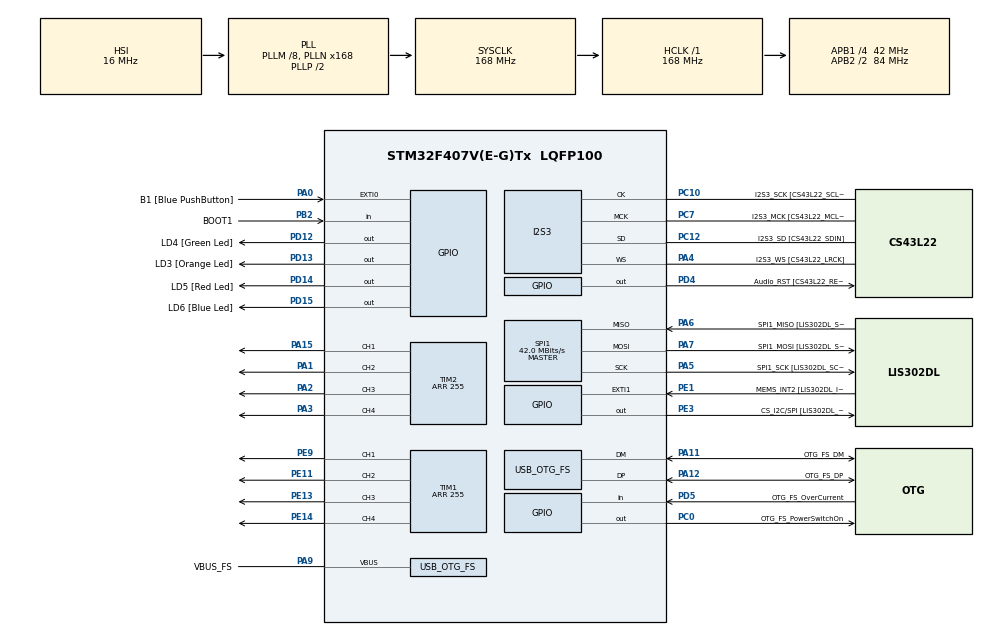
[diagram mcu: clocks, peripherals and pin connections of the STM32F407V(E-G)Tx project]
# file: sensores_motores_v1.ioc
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I2S3.AudioFreq-Half_Duplex_Master=I2S_AUDIOFREQ_96K
I2S3.ErrorAudioFreq=-2.34 %
I2S3.ErrorAudioFreq-Half_Duplex_Master=0.8 %
I2S3.FullDuplexMode=I2S_FULLDUPLEXMODE_DISABLE
I2S3.Instance=SPI$Index
I2S3.RealAudioFreq=93.75 KHz
I2S3.RealAudioFreq-Half_Duplex_Master=96.774 KHz
I2S3.VirtualMode=I2S_MODE_MASTER
Mcu.Family=STM32F4
Mcu.Name=STM32F407V(E-G)Tx
Mcu.Package=LQFP100
NVIC.OTG_FS_IRQn=true\:0\:0\:false\:false\:true\:true\:true\:true
NVIC.PriorityGroup=NVIC_PRIORITYGROUP_0
PA0-WKUP.GPIO_Label=B1 [Blue PushButton]
PA0-WKUP.GPIO_ModeDefaultEXTI=GPIO_MODE_EVT_RISING
PA0-WKUP.GPIO_PuPd=GPIO_NOPULL
PA0-WKUP.Signal=GPXTI0
PA1.Signal=S_TIM2_CH2
PA10.GPIO_Label=OTG_FS_ID
PA10.GPIO_Mode=GPIO_MODE_AF_PP
PA10.GPIO_PuPd=GPIO_NOPULL
PA10.GPIO_Speed=GPIO_SPEED_FREQ_LOW
PA10.Signal=USB_OTG_FS_ID
PA11.GPIO_Label=OTG_FS_DM
PA11.GPIO_Mode=GPIO_MODE_AF_PP
PA11.GPIO_PuPd=GPIO_NOPULL
PA11.GPIO_Speed=GPIO_SPEED_FREQ_LOW
PA11.Mode=Host_Only
PA11.Signal=USB_OTG_FS_DM
PA12.GPIO_Label=OTG_FS_DP
PA12.GPIO_Mode=GPIO_MODE_AF_PP
PA12.GPIO_PuPd=GPIO_NOPULL
PA12.GPIO_Speed=GPIO_SPEED_FREQ_LOW
PA12.Mode=Host_Only
PA12.Signal=USB_OTG_FS_DP
PA13.GPIO_Label=SWDIO
PA13.Mode=Serial_Wire
PA13.Signal=SYS_JTMS-SWDIO
PA14.GPIO_Label=SWCLK
PA14.Mode=Serial_Wire
PA14.Signal=SYS_JTCK-SWCLK
PA15.Signal=S_TIM2_CH1_ETR
PA2.Signal=S_TIM2_CH3
PA3.Signal=S_TIM2_CH4
PA4.GPIO_Label=I2S3_WS [CS43L22_LRCK]
PA4.GPIO_Mode=GPIO_MODE_AF_PP
PA4.GPIO_PuPd=GPIO_NOPULL
PA4.GPIO_Speed=GPIO_SPEED_FREQ_LOW
PA4.Mode=Half_Duplex_Master
PA4.Signal=I2S3_WS
PA5.GPIO_Label=SPI1_SCK [LIS302DL_SCL/SPC]
PA5.GPIO_Mode=GPIO_MODE_AF_PP
PA5.GPIO_PuPd=GPIO_NOPULL
PA5.GPIO_Speed=GPIO_SPEED_FREQ_LOW
PA5.Mode=Full_Duplex_Master
PA5.Signal=SPI1_SCK
PA6.GPIO_Label=SPI1_MISO [LIS302DL_SDO]
PA6.GPIO_Mode=GPIO_MODE_AF_PP
PA6.GPIO_PuPd=GPIO_NOPULL
PA6.GPIO_Speed=GPIO_SPEED_FREQ_LOW
PA6.Mode=Full_Duplex_Master
PA6.Signal=SPI1_MISO
PA7.GPIO_Label=SPI1_MOSI [LIS302DL_SDA/SDI/SDO]
PA7.GPIO_Mode=GPIO_MODE_AF_PP
PA7.GPIO_PuPd=GPIO_NOPULL
PA7.GPIO_Speed=GPIO_SPEED_FREQ_LOW
PA7.Mode=Full_Duplex_Master
PA7.Signal=SPI1_MOSI
PA9.GPIO_Label=VBUS_FS
PA9.GPIO_Mode=GPIO_MODE_INPUT
PA9.GPIO_PuPd=GPIO_NOPULL
PA9.Mode=Activate_VBUS
PA9.Signal=USB_OTG_FS_VBUS
PB2.GPIO_Label=BOOT1
PB2.GPIO_Mode=GPIO_MODE_INPUT
PB2.GPIO_PuPd=GPIO_NOPULL
PB2.Signal=GPIO_Input
PB3.GPIO_Label=SWO
PB3.Signal=SYS_JTDO-SWO
PB6.GPIO_Label=Audio_SCL [CS43L22_SCL]
PB6.GPIO_Mode=GPIO_MODE_AF_OD
PB6.GPIO_Pu=GPIO_PULLUP
PB6.GPIO_PuPd=GPIO_NOPULL
PB6.GPIO_Speed=GPIO_SPEED_FREQ_LOW
PB6.Signal=I2C1_SCL
PB9.GPIO_Label=Audio_SDA [CS43L22_SDA]
PB9.GPIO_Mode=GPIO_MODE_AF_OD
PB9.GPIO_Pu=GPIO_PULLUP
PB9.GPIO_PuPd=GPIO_NOPULL
PB9.GPIO_Speed=GPIO_SPEED_FREQ_LOW
PB9.Signal=I2C1_SDA
PC0.GPIO_Label=OTG_FS_PowerSwitchOn
PC0.GPIO_PuPd=GPIO_NOPULL
PC0.GPIO_Speed=GPIO_SPEED_FREQ_LOW
PC0.PinState=GPIO_PIN_SET
PC0.Signal=GPIO_Output
PC10.GPIO_Label=I2S3_SCK [CS43L22_SCLK]
PC10.GPIO_Mode=GPIO_MODE_AF_PP
PC10.GPIO_PuPd=GPIO_NOPULL
PC10.GPIO_Speed=GPIO_SPEED_FREQ_LOW
PC10.Mode=Half_Duplex_Master
PC10.Signal=I2S3_CK
PC12.GPIO_Label=I2S3_SD [CS43L22_SDIN]
PC12.GPIO_Mode=GPIO_MODE_AF_PP
PC12.GPIO_PuPd=GPIO_NOPULL
PC12.GPIO_Speed=GPIO_SPEED_FREQ_LOW
PC12.Mode=Half_Duplex_Master
PC12.Signal=I2S3_SD
PC14-OSC32_IN.GPIO_Label=PC14-OSC32_IN
PC14-OSC32_IN.Mode=LSE-External-Oscillator
PC14-OSC32_IN.Signal=RCC_OSC32_IN
PC15-OSC32_OUT.GPIO_Label=PC15-OSC32_OUT
PC15-OSC32_OUT.Mode=LSE-External-Oscillator
PC15-OSC32_OUT.Signal=RCC_OSC32_OUT
PC3.GPIO_Label=PDM_OUT [MP45DT02_DOUT]
PC3.GPIO_Mode=GPIO_MODE_AF_PP
PC3.GPIO_PuPd=GPIO_NOPULL
PC3.GPIO_Speed=GPIO_SPEED_FREQ_LOW
PC3.Signal=I2S2_SD
PC7.GPIO_Label=I2S3_MCK [CS43L22_MCLK]
PC7.GPIO_Mode=GPIO_MODE_AF_PP
PC7.GPIO_PuPd=GPIO_NOPULL
PC7.GPIO_Speed=GPIO_SPEED_FREQ_LOW
PC7.Mode=Master_Clock_Activated
PC7.Signal=I2S3_MCK
PD12.GPIO_Label=LD4 [Green Led]
PD12.GPIO_PuPd=GPIO_NOPULL
PD12.GPIO_Speed=GPIO_SPEED_FREQ_LOW
PD12.Signal=GPIO_Output
PD13.GPIO_Label=LD3 [Orange Led]
PD13.GPIO_PuPd=GPIO_NOPULL
PD13.GPIO_Speed=GPIO_SPEED_FREQ_LOW
PD13.Signal=GPIO_Output
PD14.GPIO_Label=LD5 [Red Led]
PD14.GPIO_PuPd=GPIO_NOPULL
PD14.GPIO_Speed=GPIO_SPEED_FREQ_LOW
PD14.Signal=GPIO_Output
PD15.GPIO_Label=LD6 [Blue Led]
PD15.GPIO_PuPd=GPIO_NOPULL
PD15.GPIO_Speed=GPIO_SPEED_FREQ_LOW
PD15.Signal=GPIO_Output
PD4.GPIO_Label=Audio_RST [CS43L22_RESET]
PD4.GPIO_PuPd=GPIO_NOPULL
PD4.GPIO_Speed=GPIO_SPEED_FREQ_LOW
PD4.Signal=GPIO_Output
PD5.GPIO_Label=OTG_FS_OverCurrent
PD5.GPIO_Mode=GPIO_MODE_INPUT
PD5.GPIO_PuPd=GPIO_NOPULL
PD5.Signal=GPIO_Input
PE1.GPIO_Label=MEMS_INT2 [LIS302DL_INT2]
PE1.GPIO_ModeDefaultEXTI=GPIO_MODE_EVT_RISING
PE1.GPIO_PuPd=GPIO_NOPULL
PE1.Signal=GPXTI1
PE11.Signal=S_TIM1_CH2
PE13.Signal=S_TIM1_CH3
PE14.Signal=S_TIM1_CH4
PE3.GPIO_Label=CS_I2C/SPI [LIS302DL_CS_I2C/SPI]
PE3.GPIO_PuPd=GPIO_NOPULL
PE3.GPIO_Speed=GPIO_SPEED_FREQ_LOW
PE3.Signal=GPIO_Output
PE9.Signal=S_TIM1_CH1
PH0-OSC_IN.GPIO_Label=PH0-OSC_IN
PH0-OSC_IN.Mode=HSE-External-Oscillator
PH0-OSC_IN.Signal=RCC_OSC_IN
PH1-OSC_OUT.GPIO_Label=PH1-OSC_OUT
PH1-OSC_OUT.Mode=HSE-External-Oscillator
PH1-OSC_OUT.Signal=RCC_OSC_OUT
ProjectManager.HeapSize=0x200
ProjectManager.StackSize=0x400
ProjectManager.TargetToolchain=STM32CubeIDE
RCC.48MHZClocksFreq_Value=48000000
RCC.AHBFreq_Value=168000000
RCC.APB1CLKDivider=RCC_HCLK_DIV4
RCC.APB1Freq_Value=42000000
RCC.APB1TimFreq_Value=84000000
RCC.APB2CLKDivider=RCC_HCLK_DIV2
RCC.APB2Freq_Value=84000000
RCC.APB2TimFreq_Value=168000000
RCC.CortexFreq_Value=168000000
RCC.HCLKFreq_Value=168000000
RCC.HSE_VALUE=8000000
RCC.HSI_VALUE=16000000
RCC.PLLM=8
RCC.PLLN=168
RCC.PLLQ=7
RCC.PLLSourceVirtualString=RCC_PLLSOURCE_HSI
RCC.SYSCLKFreq_VALUE=168000000
RCC.SYSCLKSource=RCC_SYSCLKSOURCE_PLLCLK
RCC.VCOOutputFreq_Value=336000000
SH.S_TIM1_CH1.0=TIM1_CH1,PWM Generation1 CH1
SH.S_TIM1_CH2.0=TIM1_CH2,PWM Generation2 CH2
SH.S_TIM1_CH3.0=TIM1_CH3,PWM Generation3 CH3
SH.S_TIM1_CH4.0=TIM1_CH4,PWM Generation4 CH4
SH.S_TIM2_CH1_ETR.0=TIM2_CH1,PWM Generation1 CH1
SH.S_TIM2_CH2.0=TIM2_CH2,PWM Generation2 CH2
SH.S_TIM2_CH3.0=TIM2_CH3,PWM Generation3 CH3
SH.S_TIM2_CH4.0=TIM2_CH4,PWM Generation4 CH4
SPI1.BaudRatePrescaler=SPI_BAUDRATEPRESCALER_2
SPI1.BaudRatePrescaler-Full_Duplex_Master=SPI_BAUDRATEPRESCALER_2
SPI1.CalculateBaudRate=42.0 MBits/s
SPI1.CalculateBaudRate-Full_Duplex_Master=42.0 MBits/s
SPI1.Direction=SPI_DIRECTION_2LINES
SPI1.Mode=SPI_MODE_MASTER
SPI1.Mode-Full_Duplex_Master=SPI_MODE_MASTER
SPI1.VirtualType=VM_MASTER
TIM1.AutoReloadPreload=TIM_AUTORELOAD_PRELOAD_ENABLE
TIM1.Channel-PWM\ Generation1\ CH1=TIM_CHANNEL_1
TIM1.Channel-PWM\ Generation2\ CH2=TIM_CHANNEL_2
TIM1.Channel-PWM\ Generation3\ CH3=TIM_CHANNEL_3
TIM1.Channel-PWM\ Generation4\ CH4=TIM_CHANNEL_4
TIM1.Period=255
TIM2.AutoReloadPreload=TIM_AUTORELOAD_PRELOAD_ENABLE
TIM2.Channel-PWM\ Generation1\ CH1=TIM_CHANNEL_1
TIM2.Channel-PWM\ Generation2\ CH2=TIM_CHANNEL_2
TIM2.Channel-PWM\ Generation3\ CH3=TIM_CHANNEL_3
TIM2.Channel-PWM\ Generation4\ CH4=TIM_CHANNEL_4
TIM2.Period=255
USB_HOST.BSP.number=1
USB_HOST.USBH_HandleTypeDef-CDC_FS=hUsbHostFS
USB_HOST.VirtualModeFS=Cdc
USB_HOST0.BSP.STBoard=false
USB_HOST0.BSP.api=Unknown
USB_HOST0.BSP.instance=PC0
USB_HOST0.BSP.ip=GPIO
USB_HOST0.BSP.mode=Output
USB_HOST0.BSP.name=Drive_VBUS_FS
USB_HOST0.BSP.solution=PC0
USB_OTG_FS.VirtualMode=Host_Only
USB_OTG_FS.phy_itface=HCD_PHY_EMBEDDED
VP_TIM1_VS_ClockSourceINT.Mode=Internal
VP_TIM2_VS_ClockSourceINT.Mode=Internal
VP_USB_HOST_VS_USB_HOST_CDC_FS.Mode=CDC_FS
board=STM32F407G-DISC1

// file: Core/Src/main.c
/* USER CODE BEGIN Header */
/**
  ******************************************************************************
  * @file           : main.c
  * @brief          : Main program body
  ******************************************************************************
  * @attention
  *
  * Copyright (c) 2024 STMicroelectronics.
  * All rights reserved.
  *
  * This software is licensed under terms that can be found in the LICENSE file
  * in the root directory of this software component.
  * If no LICENSE file comes with this software, it is provided AS-IS.
  *
  ******************************************************************************
  */
/* USER CODE END Header */
#include "main.h"
#include "usb_host.h"

/* USER CODE BEGIN Includes */
int contador = 1;
char *direccion[10] = {"ad", "at", "rrel", "rarel", "adci", "adcd", "atci", "atcd", "d", "i"};  // Inicializamos la dirección en "adelante"

// Prototipos de funciones
void movimiento(char str[6], int speed);
void cambiarDireccion(void);
/* USER CODE END Includes */

I2S_HandleTypeDef hi2s3;

SPI_HandleTypeDef hspi1;

TIM_HandleTypeDef htim1;
TIM_HandleTypeDef htim2;

void SystemClock_Config(void);
static void MX_GPIO_Init(void);
static void MX_I2S3_Init(void);
static void MX_SPI1_Init(void);
static void MX_TIM1_Init(void);
static void MX_TIM2_Init(void);
void MX_USB_HOST_Process(void);

int main(void)
{

  /* MCU Configuration--------------------------------------------------------*/

  /* Reset of all peripherals, Initializes the Flash interface and the Systick. */
  HAL_Init();

  /* Configure the system clock */
  SystemClock_Config();

  /* Initialize all configured peripherals */
  MX_GPIO_Init();
  MX_I2S3_Init();
  MX_SPI1_Init();
  MX_USB_HOST_Init();
  MX_TIM1_Init();
  MX_TIM2_Init();
  /* USER CODE BEGIN 2 */
  HAL_TIM_PWM_Start_IT(&htim1, TIM_CHANNEL_1);
  __HAL_TIM_SetCompare(&htim1, TIM_CHANNEL_1, 0);

  HAL_TIM_PWM_Start_IT(&htim1, TIM_CHANNEL_2);
  __HAL_TIM_SetCompare(&htim1, TIM_CHANNEL_2, 0);

  HAL_TIM_PWM_Start_IT(&htim1, TIM_CHANNEL_3);
  __HAL_TIM_SetCompare(&htim1, TIM_CHANNEL_3, 0);

  HAL_TIM_PWM_Start_IT(&htim1, TIM_CHANNEL_4);
  __HAL_TIM_SetCompare(&htim1, TIM_CHANNEL_4, 0);

  HAL_TIM_PWM_Start_IT(&htim2, TIM_CHANNEL_1);
  __HAL_TIM_SetCompare(&htim2, TIM_CHANNEL_1, 0);

  HAL_TIM_PWM_Start_IT(&htim2, TIM_CHANNEL_2);
  __HAL_TIM_SetCompare(&htim2, TIM_CHANNEL_2, 0);

  HAL_TIM_PWM_Start_IT(&htim2, TIM_CHANNEL_3);
  __HAL_TIM_SetCompare(&htim2, TIM_CHANNEL_3, 0);

  HAL_TIM_PWM_Start_IT(&htim2, TIM_CHANNEL_4);
  __HAL_TIM_SetCompare(&htim2, TIM_CHANNEL_4, 0);

  movimiento("ad", 100);
  /* USER CODE END 2 */

  /* Infinite loop */
  while (1)
  {
    MX_USB_HOST_Process();

  }
}

void SystemClock_Config(void)
{
  RCC_OscInitTypeDef RCC_OscInitStruct = {0};
  RCC_ClkInitTypeDef RCC_ClkInitStruct = {0};

  /** Configure the main internal regulator output voltage
  */
  __HAL_RCC_PWR_CLK_ENABLE();
  __HAL_PWR_VOLTAGESCALING_CONFIG(PWR_REGULATOR_VOLTAGE_SCALE1);

  /** Initializes the RCC Oscillators according to the specified parameters
  * in the RCC_OscInitTypeDef structure.
  */
  RCC_OscInitStruct.OscillatorType = RCC_OSCILLATORTYPE_HSI;
  RCC_OscInitStruct.HSIState = RCC_HSI_ON;
  RCC_OscInitStruct.HSICalibrationValue = RCC_HSICALIBRATION_DEFAULT;
  RCC_OscInitStruct.PLL.PLLState = RCC_PLL_ON;
  RCC_OscInitStruct.PLL.PLLSource = RCC_PLLSOURCE_HSI;
  RCC_OscInitStruct.PLL.PLLM = 8;
  RCC_OscInitStruct.PLL.PLLN = 168;
  RCC_OscInitStruct.PLL.PLLP = RCC_PLLP_DIV2;
  RCC_OscInitStruct.PLL.PLLQ = 7;
  if (HAL_RCC_OscConfig(&RCC_OscInitStruct) != HAL_OK)
  {
    Error_Handler();
  }

  /** Initializes the CPU, AHB and APB buses clocks
  */
  RCC_ClkInitStruct.ClockType = RCC_CLOCKTYPE_HCLK|RCC_CLOCKTYPE_SYSCLK
                              |RCC_CLOCKTYPE_PCLK1|RCC_CLOCKTYPE_PCLK2;
  RCC_ClkInitStruct.SYSCLKSource = RCC_SYSCLKSOURCE_PLLCLK;
  RCC_ClkInitStruct.AHBCLKDivider = RCC_SYSCLK_DIV1;
  RCC_ClkInitStruct.APB1CLKDivider = RCC_HCLK_DIV4;
  RCC_ClkInitStruct.APB2CLKDivider = RCC_HCLK_DIV2;

  if (HAL_RCC_ClockConfig(&RCC_ClkInitStruct, FLASH_LATENCY_5) != HAL_OK)
  {
    Error_Handler();
  }
}

static void MX_I2S3_Init(void)
{

  hi2s3.Instance = SPI3;
  hi2s3.Init.Mode = I2S_MODE_MASTER_TX;
  hi2s3.Init.Standard = I2S_STANDARD_PHILIPS;
  hi2s3.Init.DataFormat = I2S_DATAFORMAT_16B;
  hi2s3.Init.MCLKOutput = I2S_MCLKOUTPUT_ENABLE;
  hi2s3.Init.AudioFreq = I2S_AUDIOFREQ_96K;
  hi2s3.Init.CPOL = I2S_CPOL_LOW;
  hi2s3.Init.ClockSource = I2S_CLOCK_PLL;
  hi2s3.Init.FullDuplexMode = I2S_FULLDUPLEXMODE_DISABLE;
  if (HAL_I2S_Init(&hi2s3) != HAL_OK)
  {
    Error_Handler();
  }

}

static void MX_SPI1_Init(void)
{

  /* SPI1 parameter configuration*/
  hspi1.Instance = SPI1;
  hspi1.Init.Mode = SPI_MODE_MASTER;
  hspi1.Init.Direction = SPI_DIRECTION_2LINES;
  hspi1.Init.DataSize = SPI_DATASIZE_8BIT;
  hspi1.Init.CLKPolarity = SPI_POLARITY_LOW;
  hspi1.Init.CLKPhase = SPI_PHASE_1EDGE;
  hspi1.Init.NSS = SPI_NSS_SOFT;
  hspi1.Init.BaudRatePrescaler = SPI_BAUDRATEPRESCALER_2;
  hspi1.Init.FirstBit = SPI_FIRSTBIT_MSB;
  hspi1.Init.TIMode = SPI_TIMODE_DISABLE;
  hspi1.Init.CRCCalculation = SPI_CRCCALCULATION_DISABLE;
  hspi1.Init.CRCPolynomial = 10;
  if (HAL_SPI_Init(&hspi1) != HAL_OK)
  {
    Error_Handler();
  }

}

static void MX_TIM1_Init(void)
{

  TIM_ClockConfigTypeDef sClockSourceConfig = {0};
  TIM_MasterConfigTypeDef sMasterConfig = {0};
  TIM_OC_InitTypeDef sConfigOC = {0};
  TIM_BreakDeadTimeConfigTypeDef sBreakDeadTimeConfig = {0};

  htim1.Instance = TIM1;
  htim1.Init.Prescaler = 71;
  htim1.Init.CounterMode = TIM_COUNTERMODE_UP;
  htim1.Init.Period = 255;
  htim1.Init.ClockDivision = TIM_CLOCKDIVISION_DIV1;
  htim1.Init.RepetitionCounter = 0;
  htim1.Init.AutoReloadPreload = TIM_AUTORELOAD_PRELOAD_ENABLE;
  if (HAL_TIM_Base_Init(&htim1) != HAL_OK)
  {
    Error_Handler();
  }
  sClockSourceConfig.ClockSource = TIM_CLOCKSOURCE_INTERNAL;
  if (HAL_TIM_ConfigClockSource(&htim1, &sClockSourceConfig) != HAL_OK)
  {
    Error_Handler();
  }
  if (HAL_TIM_PWM_Init(&htim1) != HAL_OK)
  {
    Error_Handler();
  }
  sMasterConfig.MasterOutputTrigger = TIM_TRGO_RESET;
  sMasterConfig.MasterSlaveMode = TIM_MASTERSLAVEMODE_DISABLE;
  if (HAL_TIMEx_MasterConfigSynchronization(&htim1, &sMasterConfig) != HAL_OK)
  {
    Error_Handler();
  }
  sConfigOC.OCMode = TIM_OCMODE_PWM1;
  sConfigOC.Pulse = 0;
  sConfigOC.OCPolarity = TIM_OCPOLARITY_HIGH;
  sConfigOC.OCNPolarity = TIM_OCNPOLARITY_HIGH;
  sConfigOC.OCFastMode = TIM_OCFAST_DISABLE;
  sConfigOC.OCIdleState = TIM_OCIDLESTATE_RESET;
  sConfigOC.OCNIdleState = TIM_OCNIDLESTATE_RESET;
  if (HAL_TIM_PWM_ConfigChannel(&htim1, &sConfigOC, TIM_CHANNEL_1) != HAL_OK)
  {
    Error_Handler();
  }
  if (HAL_TIM_PWM_ConfigChannel(&htim1, &sConfigOC, TIM_CHANNEL_2) != HAL_OK)
  {
    Error_Handler();
  }
  if (HAL_TIM_PWM_ConfigChannel(&htim1, &sConfigOC, TIM_CHANNEL_3) != HAL_OK)
  {
    Error_Handler();
  }
  if (HAL_TIM_PWM_ConfigChannel(&htim1, &sConfigOC, TIM_CHANNEL_4) != HAL_OK)
  {
    Error_Handler();
  }
  sBreakDeadTimeConfig.OffStateRunMode = TIM_OSSR_DISABLE;
  sBreakDeadTimeConfig.OffStateIDLEMode = TIM_OSSI_DISABLE;
  sBreakDeadTimeConfig.LockLevel = TIM_LOCKLEVEL_OFF;
  sBreakDeadTimeConfig.DeadTime = 0;
  sBreakDeadTimeConfig.BreakState = TIM_BREAK_DISABLE;
  sBreakDeadTimeConfig.BreakPolarity = TIM_BREAKPOLARITY_HIGH;
  sBreakDeadTimeConfig.AutomaticOutput = TIM_AUTOMATICOUTPUT_DISABLE;
  if (HAL_TIMEx_ConfigBreakDeadTime(&htim1, &sBreakDeadTimeConfig) != HAL_OK)
  {
    Error_Handler();
  }
  HAL_TIM_MspPostInit(&htim1);

}

static void MX_TIM2_Init(void)
{

  TIM_ClockConfigTypeDef sClockSourceConfig = {0};
  TIM_MasterConfigTypeDef sMasterConfig = {0};
  TIM_OC_InitTypeDef sConfigOC = {0};

  htim2.Instance = TIM2;
  htim2.Init.Prescaler = 71;
  htim2.Init.CounterMode = TIM_COUNTERMODE_UP;
  htim2.Init.Period = 255;
  htim2.Init.ClockDivision = TIM_CLOCKDIVISION_DIV1;
  htim2.Init.AutoReloadPreload = TIM_AUTORELOAD_PRELOAD_ENABLE;
  if (HAL_TIM_Base_Init(&htim2) != HAL_OK)
  {
    Error_Handler();
  }
  sClockSourceConfig.ClockSource = TIM_CLOCKSOURCE_INTERNAL;
  if (HAL_TIM_ConfigClockSource(&htim2, &sClockSourceConfig) != HAL_OK)
  {
    Error_Handler();
  }
  if (HAL_TIM_PWM_Init(&htim2) != HAL_OK)
  {
    Error_Handler();
  }
  sMasterConfig.MasterOutputTrigger = TIM_TRGO_RESET;
  sMasterConfig.MasterSlaveMode = TIM_MASTERSLAVEMODE_DISABLE;
  if (HAL_TIMEx_MasterConfigSynchronization(&htim2, &sMasterConfig) != HAL_OK)
  {
    Error_Handler();
  }
  sConfigOC.OCMode = TIM_OCMODE_PWM1;
  sConfigOC.Pulse = 0;
  sConfigOC.OCPolarity = TIM_OCPOLARITY_HIGH;
  sConfigOC.OCFastMode = TIM_OCFAST_DISABLE;
  if (HAL_TIM_PWM_ConfigChannel(&htim2, &sConfigOC, TIM_CHANNEL_1) != HAL_OK)
  {
    Error_Handler();
  }
  if (HAL_TIM_PWM_ConfigChannel(&htim2, &sConfigOC, TIM_CHANNEL_2) != HAL_OK)
  {
    Error_Handler();
  }
  if (HAL_TIM_PWM_ConfigChannel(&htim2, &sConfigOC, TIM_CHANNEL_3) != HAL_OK)
  {
    Error_Handler();
  }
  if (HAL_TIM_PWM_ConfigChannel(&htim2, &sConfigOC, TIM_CHANNEL_4) != HAL_OK)
  {
    Error_Handler();
  }
  HAL_TIM_MspPostInit(&htim2);

}

static void MX_GPIO_Init(void)
{
  GPIO_InitTypeDef GPIO_InitStruct = {0};

  /* GPIO Ports Clock Enable */
  __HAL_RCC_GPIOE_CLK_ENABLE();
  __HAL_RCC_GPIOC_CLK_ENABLE();
  __HAL_RCC_GPIOH_CLK_ENABLE();
  __HAL_RCC_GPIOA_CLK_ENABLE();
  __HAL_RCC_GPIOB_CLK_ENABLE();
  __HAL_RCC_GPIOD_CLK_ENABLE();

  /*Configure GPIO pin Output Level */
  HAL_GPIO_WritePin(CS_I2C_SPI_GPIO_Port, CS_I2C_SPI_Pin, GPIO_PIN_RESET);

  /*Configure GPIO pin Output Level */
  HAL_GPIO_WritePin(OTG_FS_PowerSwitchOn_GPIO_Port, OTG_FS_PowerSwitchOn_Pin, GPIO_PIN_SET);

  /*Configure GPIO pin Output Level */
  HAL_GPIO_WritePin(GPIOD, LD4_Pin|LD3_Pin|LD5_Pin|LD6_Pin
                          |Audio_RST_Pin, GPIO_PIN_RESET);

  /*Configure GPIO pin : CS_I2C_SPI_Pin */
  GPIO_InitStruct.Pin = CS_I2C_SPI_Pin;
  GPIO_InitStruct.Mode = GPIO_MODE_OUTPUT_PP;
  GPIO_InitStruct.Pull = GPIO_NOPULL;
  GPIO_InitStruct.Speed = GPIO_SPEED_FREQ_LOW;
  HAL_GPIO_Init(CS_I2C_SPI_GPIO_Port, &GPIO_InitStruct);

  /*Configure GPIO pin : OTG_FS_PowerSwitchOn_Pin */
  GPIO_InitStruct.Pin = OTG_FS_PowerSwitchOn_Pin;
  GPIO_InitStruct.Mode = GPIO_MODE_OUTPUT_PP;
  GPIO_InitStruct.Pull = GPIO_NOPULL;
  GPIO_InitStruct.Speed = GPIO_SPEED_FREQ_LOW;
  HAL_GPIO_Init(OTG_FS_PowerSwitchOn_GPIO_Port, &GPIO_InitStruct);

  /*Configure GPIO pin : PDM_OUT_Pin */
  GPIO_InitStruct.Pin = PDM_OUT_Pin;
  GPIO_InitStruct.Mode = GPIO_MODE_AF_PP;
  GPIO_InitStruct.Pull = GPIO_NOPULL;
  GPIO_InitStruct.Speed = GPIO_SPEED_FREQ_LOW;
  GPIO_InitStruct.Alternate = GPIO_AF5_SPI2;
  HAL_GPIO_Init(PDM_OUT_GPIO_Port, &GPIO_InitStruct);

  /*Configure GPIO pin : B1_Pin */
  GPIO_InitStruct.Pin = B1_Pin;
  GPIO_InitStruct.Mode = GPIO_MODE_EVT_RISING;
  GPIO_InitStruct.Pull = GPIO_NOPULL;
  HAL_GPIO_Init(B1_GPIO_Port, &GPIO_InitStruct);

  /*Configure GPIO pin : BOOT1_Pin */
  GPIO_InitStruct.Pin = BOOT1_Pin;
  GPIO_InitStruct.Mode = GPIO_MODE_INPUT;
  GPIO_InitStruct.Pull = GPIO_NOPULL;
  HAL_GPIO_Init(BOOT1_GPIO_Port, &GPIO_InitStruct);

  /*Configure GPIO pins : LD4_Pin LD3_Pin LD5_Pin LD6_Pin
                           Audio_RST_Pin */
  GPIO_InitStruct.Pin = LD4_Pin|LD3_Pin|LD5_Pin|LD6_Pin
                          |Audio_RST_Pin;
  GPIO_InitStruct.Mode = GPIO_MODE_OUTPUT_PP;
  GPIO_InitStruct.Pull = GPIO_NOPULL;
  GPIO_InitStruct.Speed = GPIO_SPEED_FREQ_LOW;
  HAL_GPIO_Init(GPIOD, &GPIO_InitStruct);

  /*Configure GPIO pin : OTG_FS_OverCurrent_Pin */
  GPIO_InitStruct.Pin = OTG_FS_OverCurrent_Pin;
  GPIO_InitStruct.Mode = GPIO_MODE_INPUT;
  GPIO_InitStruct.Pull = GPIO_NOPULL;
  HAL_GPIO_Init(OTG_FS_OverCurrent_GPIO_Port, &GPIO_InitStruct);

  /*Configure GPIO pins : Audio_SCL_Pin Audio_SDA_Pin */
  GPIO_InitStruct.Pin = Audio_SCL_Pin|Audio_SDA_Pin;
  GPIO_InitStruct.Mode = GPIO_MODE_AF_OD;
  GPIO_InitStruct.Pull = GPIO_PULLUP;
  GPIO_InitStruct.Speed = GPIO_SPEED_FREQ_LOW;
  GPIO_InitStruct.Alternate = GPIO_AF4_I2C1;
  HAL_GPIO_Init(GPIOB, &GPIO_InitStruct);

  /*Configure GPIO pin : MEMS_INT2_Pin */
  GPIO_InitStruct.Pin = MEMS_INT2_Pin;
  GPIO_InitStruct.Mode = GPIO_MODE_EVT_RISING;
  GPIO_InitStruct.Pull = GPIO_NOPULL;
  HAL_GPIO_Init(MEMS_INT2_GPIO_Port, &GPIO_InitStruct);

}

/* USER CODE BEGIN 4 */

void movimiento(char str[6], int speed) {
	// Motor 1
	 __HAL_TIM_SetCompare(&htim1, TIM_CHANNEL_1, 0);
	 __HAL_TIM_SetCompare(&htim1, TIM_CHANNEL_2, 0);

	 // Motor 2
	 __HAL_TIM_SetCompare(&htim1, TIM_CHANNEL_3, 0);
	 __HAL_TIM_SetCompare(&htim1, TIM_CHANNEL_4, 0);

	 // Motor 3
	 __HAL_TIM_SetCompare(&htim2, TIM_CHANNEL_1, 0);
	 __HAL_TIM_SetCompare(&htim2, TIM_CHANNEL_2, 0);

	 // Motor 4
	 __HAL_TIM_SetCompare(&htim2, TIM_CHANNEL_3, 0);
	 __HAL_TIM_SetCompare(&htim2, TIM_CHANNEL_4, 0);

	 HAL_Delay(1000);
	// Adelante
	if (strcmp(str, "ad") == 0 )
	{
		// Motor 1
		 __HAL_TIM_SetCompare(&htim1, TIM_CHANNEL_1, speed);
		 __HAL_TIM_SetCompare(&htim1, TIM_CHANNEL_2, 0);

		 // Motor 2
		 __HAL_TIM_SetCompare(&htim1, TIM_CHANNEL_3, speed);
		 __HAL_TIM_SetCompare(&htim1, TIM_CHANNEL_4, 0);

		 // Motor 3
		 __HAL_TIM_SetCompare(&htim2, TIM_CHANNEL_1, speed);
		 __HAL_TIM_SetCompare(&htim2, TIM_CHANNEL_2, 0);

		 // Motor 4
		 __HAL_TIM_SetCompare(&htim2, TIM_CHANNEL_3, speed);
		 __HAL_TIM_SetCompare(&htim2, TIM_CHANNEL_4, 0);
	}

	// Atras
	if (strcmp(str, "at") == 0 )
	{
		// Motor 1
		 __HAL_TIM_SetCompare(&htim1, TIM_CHANNEL_1, 0);
		 __HAL_TIM_SetCompare(&htim1, TIM_CHANNEL_2, speed);

		 // Motor 2
		 __HAL_TIM_SetCompare(&htim1, TIM_CHANNEL_3, 0);
		 __HAL_TIM_SetCompare(&htim1, TIM_CHANNEL_4, speed);

		 // Motor 3
		 __HAL_TIM_SetCompare(&htim2, TIM_CHANNEL_1, 0);
		 __HAL_TIM_SetCompare(&htim2, TIM_CHANNEL_2, speed);

		 // Motor 4
		 __HAL_TIM_SetCompare(&htim2, TIM_CHANNEL_3, 0);
		 __HAL_TIM_SetCompare(&htim2, TIM_CHANNEL_4, speed);

	}

	// Rotación en sentido horario
	if (strcmp(str, "rrel") == 0 )
	{
		// Motor 1
		 __HAL_TIM_SetCompare(&htim1, TIM_CHANNEL_1, speed);
		 __HAL_TIM_SetCompare(&htim1, TIM_CHANNEL_2, 0);

		 // Motor 2
		 __HAL_TIM_SetCompare(&htim1, TIM_CHANNEL_3, 0);
		 __HAL_TIM_SetCompare(&htim1, TIM_CHANNEL_4, speed);

		 // Motor 3
		 __HAL_TIM_SetCompare(&htim2, TIM_CHANNEL_1, speed);
		 __HAL_TIM_SetCompare(&htim2, TIM_CHANNEL_2, 0);

		 // Motor 4
		 __HAL_TIM_SetCompare(&htim2, TIM_CHANNEL_3, 0);
		 __HAL_TIM_SetCompare(&htim2, TIM_CHANNEL_4, speed);
	}

	// Rotación en sentido antihorario
	if (strcmp(str, "rarel") == 0 )
	{
		// Motor 1
		 __HAL_TIM_SetCompare(&htim1, TIM_CHANNEL_1, 0);
		 __HAL_TIM_SetCompare(&htim1, TIM_CHANNEL_2, speed);

		 // Motor 2
		 __HAL_TIM_SetCompare(&htim1, TIM_CHANNEL_3, speed);
		 __HAL_TIM_SetCompare(&htim1, TIM_CHANNEL_4, 0);

		 // Motor 3
		 __HAL_TIM_SetCompare(&htim2, TIM_CHANNEL_1, 0);
		 __HAL_TIM_SetCompare(&htim2, TIM_CHANNEL_2, speed);

		 // Motor 4
		 __HAL_TIM_SetCompare(&htim2, TIM_CHANNEL_3, speed);
		 __HAL_TIM_SetCompare(&htim2, TIM_CHANNEL_4, 0);
	}

	// Adelante 45° derecha
	if (strcmp(str, "adcd") == 0 )
	{
		// Motor 1
		__HAL_TIM_SetCompare(&htim1, TIM_CHANNEL_1, speed);
		__HAL_TIM_SetCompare(&htim1, TIM_CHANNEL_2, 0);

		// Motor 2
		__HAL_TIM_SetCompare(&htim1, TIM_CHANNEL_3, 0);
		__HAL_TIM_SetCompare(&htim1, TIM_CHANNEL_4, 0);

		 // Motor 3
		__HAL_TIM_SetCompare(&htim2, TIM_CHANNEL_1, 0);
		__HAL_TIM_SetCompare(&htim2, TIM_CHANNEL_2, 0);

		// Motor 4
		__HAL_TIM_SetCompare(&htim2, TIM_CHANNEL_3, speed);
		__HAL_TIM_SetCompare(&htim2, TIM_CHANNEL_4, 0);
	}

	// Adelante 45° izquierda
	if (strcmp(str, "adci") == 0 )
	{
		// Motor 1
		__HAL_TIM_SetCompare(&htim1, TIM_CHANNEL_1, 0);
		__HAL_TIM_SetCompare(&htim1, TIM_CHANNEL_2, 0);

		// Motor 2
		__HAL_TIM_SetCompare(&htim1, TIM_CHANNEL_3, speed);
		__HAL_TIM_SetCompare(&htim1, TIM_CHANNEL_4, 0);

		 // Motor 3
		__HAL_TIM_SetCompare(&htim2, TIM_CHANNEL_1, speed);
		__HAL_TIM_SetCompare(&htim2, TIM_CHANNEL_2, 0);

		// Motor 4
		__HAL_TIM_SetCompare(&htim2, TIM_CHANNEL_3, 0);
		__HAL_TIM_SetCompare(&htim2, TIM_CHANNEL_4, 0);
	}

	// Atrás 45° izquierda
	if (strcmp(str, "atci") == 0 )
	{
		// Motor 1
		__HAL_TIM_SetCompare(&htim1, TIM_CHANNEL_1, 0);
		__HAL_TIM_SetCompare(&htim1, TIM_CHANNEL_2, speed);

		// Motor 2
		__HAL_TIM_SetCompare(&htim1, TIM_CHANNEL_3, 0);
		__HAL_TIM_SetCompare(&htim1, TIM_CHANNEL_4, 0);

		 // Motor 3
		__HAL_TIM_SetCompare(&htim2, TIM_CHANNEL_1, 0);
		__HAL_TIM_SetCompare(&htim2, TIM_CHANNEL_2, 0);

		// Motor 4
		__HAL_TIM_SetCompare(&htim2, TIM_CHANNEL_3, 0);
		__HAL_TIM_SetCompare(&htim2, TIM_CHANNEL_4, speed);
	}
	// Atrás 45° derecha
	if (strcmp(str, "atcd") == 0 )
	{
		// Motor 1
		__HAL_TIM_SetCompare(&htim1, TIM_CHANNEL_1, 0);
		__HAL_TIM_SetCompare(&htim1, TIM_CHANNEL_2, 0);

		// Motor 2
		__HAL_TIM_SetCompare(&htim1, TIM_CHANNEL_3, 0);
		__HAL_TIM_SetCompare(&htim1, TIM_CHANNEL_4, speed);

		 // Motor 3
		__HAL_TIM_SetCompare(&htim2, TIM_CHANNEL_1, 0);
		__HAL_TIM_SetCompare(&htim2, TIM_CHANNEL_2, speed);

		// Motor 4
		__HAL_TIM_SetCompare(&htim2, TIM_CHANNEL_3, 0);
		__HAL_TIM_SetCompare(&htim2, TIM_CHANNEL_4, 0);
	}

	// Derecha
	if (strcmp(str, "d") == 0 )
	{
		// Motor 1
		__HAL_TIM_SetCompare(&htim1, TIM_CHANNEL_1, speed);
		__HAL_TIM_SetCompare(&htim1, TIM_CHANNEL_2, 0);

		// Motor 2
		__HAL_TIM_SetCompare(&htim1, TIM_CHANNEL_3, 0);
		__HAL_TIM_SetCompare(&htim1, TIM_CHANNEL_4, speed);

		 // Motor 3
		__HAL_TIM_SetCompare(&htim2, TIM_CHANNEL_1, 0);
		__HAL_TIM_SetCompare(&htim2, TIM_CHANNEL_2, speed);

		// Motor 4
		__HAL_TIM_SetCompare(&htim2, TIM_CHANNEL_3, speed);
		__HAL_TIM_SetCompare(&htim2, TIM_CHANNEL_4, 0);
	}
	// Izquierda
	if (strcmp(str, "i") == 0 )
	{
		// Motor 1
		__HAL_TIM_SetCompare(&htim1, TIM_CHANNEL_1, 0);
		__HAL_TIM_SetCompare(&htim1, TIM_CHANNEL_2, speed);

		// Motor 2
		__HAL_TIM_SetCompare(&htim1, TIM_CHANNEL_3, speed);
		__HAL_TIM_SetCompare(&htim1, TIM_CHANNEL_4, 0);

		 // Motor 3
		__HAL_TIM_SetCompare(&htim2, TIM_CHANNEL_1, speed);
		__HAL_TIM_SetCompare(&htim2, TIM_CHANNEL_2, 0);

		// Motor 4
		__HAL_TIM_SetCompare(&htim2, TIM_CHANNEL_3, 0);
		__HAL_TIM_SetCompare(&htim2, TIM_CHANNEL_4, speed);
	}
}

/* USER CODE END 4 */

void Error_Handler(void)
{
  __disable_irq();
  while (1)
  {
  }
}
